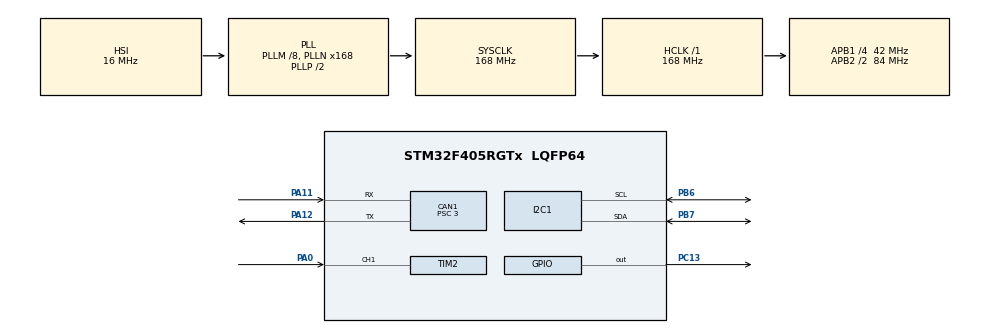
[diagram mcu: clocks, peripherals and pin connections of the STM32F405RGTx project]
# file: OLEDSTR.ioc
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CAN1.BS1=CAN_BS1_11TQ
CAN1.BS2=CAN_BS2_2TQ
CAN1.CalculateTimeQuantum=71.42857142857143
CAN1.Prescaler=3
I2C1.DutyCycle=I2C_DUTYCYCLE_2
I2C1.I2C_Mode=I2C_Fast
Mcu.Family=STM32F4
Mcu.Name=STM32F405RGTx
Mcu.Package=LQFP64
NVIC.CAN1_RX0_IRQn=true\:0\:0\:false\:false\:true\:true\:true
NVIC.PriorityGroup=NVIC_PRIORITYGROUP_4
NVIC.TIM2_IRQn=true\:0\:0\:false\:false\:true\:true\:true
PA0-WKUP.Signal=S_TIM2_CH1_ETR
PA11.Mode=Master
PA11.Signal=CAN1_RX
PA12.Mode=Master
PA12.Signal=CAN1_TX
PA13.Mode=Serial_Wire
PA13.Signal=SYS_JTMS-SWDIO
PA14.Mode=Serial_Wire
PA14.Signal=SYS_JTCK-SWCLK
PB6.Mode=I2C
PB6.Signal=I2C1_SCL
PB7.Mode=I2C
PB7.Signal=I2C1_SDA
PC13-ANTI_TAMP.Signal=GPIO_Output
ProjectManager.HeapSize=0x200
ProjectManager.StackSize=0x400
ProjectManager.TargetToolchain=STM32CubeIDE
RCC.48MHZClocksFreq_Value=84000000
RCC.AHBFreq_Value=168000000
RCC.APB1CLKDivider=RCC_HCLK_DIV4
RCC.APB1Freq_Value=42000000
RCC.APB1TimFreq_Value=84000000
RCC.APB2CLKDivider=RCC_HCLK_DIV2
RCC.APB2Freq_Value=84000000
RCC.APB2TimFreq_Value=168000000
RCC.CortexFreq_Value=168000000
RCC.HCLKFreq_Value=168000000
RCC.HSE_VALUE=25000000
RCC.HSI_VALUE=16000000
RCC.LSE_VALUE=32768
RCC.PLLM=8
RCC.PLLN=168
RCC.SYSCLKFreq_VALUE=168000000
RCC.SYSCLKSource=RCC_SYSCLKSOURCE_PLLCLK
RCC.VCOOutputFreq_Value=336000000
SH.S_TIM2_CH1_ETR.0=TIM2_CH1,PWM_Input_1
TIM2.ICPolarity_1=TIM_INPUTCHANNELPOLARITY_FALLING
TIM2.Period=65535
TIM2.Prescaler=120
board=custom

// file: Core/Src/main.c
/* USER CODE BEGIN Header */
/**
  ******************************************************************************
  * @file           : main.c
  * @brief          : Main program body
  ******************************************************************************
  *
  * Steering Angle Reader and OLED Screen for HPF017
  *
  * Author: Markus Jahn
  *
  ******************************************************************************

  Can Messages read to OLED screen:

  Kerttu 0x7B6, High to Low, Bytes 0-1  (HPF019 ID=0xB Bytes 0-3)
  Low Voltage Battery 0x527(or 0x520!!!), High to Low, Byte 1
  Max Torque and Drive Mode 0x7C8 Byte 1=Max Torque Byte 0=driveModeFuture

  *****************************************************************************
  */
/* USER CODE END Header */

#include "main.h"

/* USER CODE BEGIN Includes */

#include "ssd1306.h"
#include "fonts.h"

/* USER CODE END Includes */

CAN_HandleTypeDef hcan1;

I2C_HandleTypeDef hi2c1;

TIM_HandleTypeDef htim2;

/* USER CODE BEGIN PV */

/* Captured Value */
uint32_t            PWMValue = 0;
uint16_t  			STRAngle = 0;

CAN_FilterTypeDef  sFilterConfig;

CAN_TxHeaderTypeDef   TxHeader;
CAN_RxHeaderTypeDef   RxHeader;

uint8_t               TxData[2];
uint8_t               RxData[8];
uint32_t              TxMailbox;
uint32_t i=0;
uint32_t scrtimer=0;
uint16_t Kerttu=555;
uint16_t LVBatt=203;
uint8_t DriveMode=5;
uint8_t Turku=55;
char txt[6];

/* USER CODE END PV */

void SystemClock_Config(void);
static void MX_GPIO_Init(void);
static void MX_CAN1_Init(void);
static void MX_TIM2_Init(void);
static void MX_I2C1_Init(void);

int main(void)
{

  /* MCU Configuration--------------------------------------------------------*/

  /* Reset of all peripherals, Initializes the Flash interface and the Systick. */
  HAL_Init();

  /* Configure the system clock */
  SystemClock_Config();

  /* Initialize all configured peripherals */
  MX_GPIO_Init();
  MX_CAN1_Init();
  MX_TIM2_Init();
  MX_I2C1_Init();
  /* USER CODE BEGIN 2 */

  HAL_TIM_PWM_Start(&htim2, TIM_CHANNEL_1);
  HAL_TIM_PWM_Start(&htim2, TIM_CHANNEL_2); // start the PWM counters
  HAL_Delay(10);
  SSD1306_Init();  // initialise Screen

  // Start Can Bus

  // Defining CAN 1 Filter Banks.

    sFilterConfig.FilterMode = CAN_FILTERMODE_IDMASK;
    sFilterConfig.FilterScale = CAN_FILTERSCALE_32BIT;
    sFilterConfig.FilterIdLow = 0x0000;
    sFilterConfig.FilterMaskIdLow = 0x0000;
    sFilterConfig.FilterFIFOAssignment = CAN_RX_FIFO0;
    sFilterConfig.FilterActivation = ENABLE;
    sFilterConfig.SlaveStartFilterBank = 14;

 /*   //Let all through mask
    sFilterConfig.FilterBank = 0;
    sFilterConfig.FilterIdHigh = 0x0000;
    sFilterConfig.FilterMaskIdHigh = 0x0000;
    if(HAL_CAN_ConfigFilter(&hcan1, &sFilterConfig) != HAL_OK)
        {
          //Filter configuration Error
          Error_Handler();
        }
*/
    // BMS Voltage
    // Can Message 0x7B6(1974), High to Low, Bytes 0-1

    sFilterConfig.FilterBank = 0;
    sFilterConfig.FilterIdHigh = 0x07B6 << 5;
    sFilterConfig.FilterMaskIdHigh = 0x07B6 << 5;

    if(HAL_CAN_ConfigFilter(&hcan1, &sFilterConfig) != HAL_OK)
    {
      //Filter configuration Error
      Error_Handler();
    }

    // Low Voltage
    // Can Message 0x527(1319), High to Low, Byte 1

    sFilterConfig.FilterBank = 1;
    sFilterConfig.FilterIdHigh = 0x0527 << 5;
    sFilterConfig.FilterMaskIdHigh = 0x0527 << 5;

    if(HAL_CAN_ConfigFilter(&hcan1, &sFilterConfig) != HAL_OK)
        {
          //Filter configuration Error
          Error_Handler();
        }

    // Drive Mode & Max Torque
    // Can Message 0x7C8(1992) Byte 1=Max Torque Byte 0=driveModeFuture

    sFilterConfig.FilterBank = 2;
    sFilterConfig.FilterIdHigh = 0x07C8 << 5;
    sFilterConfig.FilterMaskIdHigh = 0x07C8 << 5;

    if(HAL_CAN_ConfigFilter(&hcan1, &sFilterConfig) != HAL_OK)
        {
          //Filter configuration Error
          Error_Handler();
        }

  // Start Can 1

    if (HAL_CAN_Start(&hcan1) != HAL_OK)
    {
      // Start Error
      Error_Handler();
    }

    scrtimer=HAL_GetTick();

    // Write static stuff to screen only once
                  SSD1306_Clear();
    			  SSD1306_GotoXY (5,0);
   	  		      SSD1306_Puts ("Kerttu", &Font_7x10, 1);
  	  		      SSD1306_GotoXY (65,0);
   	  		      SSD1306_Puts ("LV Batt.", &Font_7x10, 1);
   	  		      SSD1306_GotoXY (10,33);
   	  		      SSD1306_Puts ("Mode", &Font_7x10, 1);
   	  		      SSD1306_GotoXY (65,33);
   	  		      SSD1306_Puts ("Torque", &Font_7x10, 1);
   	  		      SSD1306_UpdateScreen();

  /* USER CODE END 2 */

  /* Infinite loop */
  /* USER CODE BEGIN WHILE */
  while (1)
  {

	   // Read Steering Angle sensor
	      PWMValue = HAL_TIM_ReadCapturedValue(&htim2, TIM_CHANNEL_1);

	  	  if (PWMValue != 0)
	  	  {
	  		STRAngle = HAL_TIM_ReadCapturedValue(&htim2, TIM_CHANNEL_2)*360/PWMValue;
	  		STRAngle = 360-(STRAngle-22);
	  	  }
	  	  else
	  	  {
	  		  STRAngle = 0;
	  	  }

	  	// Receive Can 1 message

	  		    if(HAL_CAN_GetRxFifoFillLevel(&hcan1, CAN_RX_FIFO0) != 1)
	  		      {
	  		        /* Reception Missing */
	  		        Error_Handler();
	  		      }

	  		      if(HAL_CAN_GetRxMessage(&hcan1, CAN_RX_FIFO0, &RxHeader, RxData) != HAL_OK)
	  		      {
	  		        /* Reception Error */
	  		        Error_Handler();
	  		      }

	  		    switch ( RxHeader.StdId )
	  		            {
	  		    			case 0x7B6 :  // BMS Voltage
	  		                    Kerttu=256*RxData[0]+RxData[1];
	  		                    break;

	  		    			case 0x527 :  // Low Voltage Battery or is it 0x520???
	  		    				LVBatt=RxData[1]*1.216;
	  		    				break;

	  		    			case 0x07C8 :  // Byte 1=Max Torque Byte 0=driveModeFuture
	  		    				DriveMode=RxData[3];
	  		    				Turku=RxData[1];
	  		    				break;

	  		            }
	  		      // uint32_t to bytes

	  		      union {
	  		    	    uint16_t integer;
	  		      		unsigned char bytearray[2];
	  		      	} data;
	  		      	data.integer = STRAngle;

	  		      // Can 1 Start the Transmission process
	  		        TxHeader.StdId = 69;
	  		        TxHeader.RTR = CAN_RTR_DATA;
	  		        TxHeader.IDE = CAN_ID_STD;
	  		        TxHeader.DLC = 2;
	  		        TxHeader.TransmitGlobalTime = DISABLE;
	  		        TxData[0] = data.bytearray[0];
	  		        TxData[1] = data.bytearray[1];

	  		        if(HAL_CAN_AddTxMessage(&hcan1, &TxHeader, TxData, &TxMailbox) != HAL_OK)
	  		        {
	  		          /* Transmission request Error */
	  		          Error_Handler();
	  		        }

	  		        /* Wait transmission complete */
	  		          while(HAL_CAN_GetTxMailboxesFreeLevel(&hcan1) != 3) {}

	   //Write to the screen

if (HAL_GetTick()-scrtimer > 100) {
	    SSD1306_GotoXY (5,12);
	    sprintf(txt, "%iv", Kerttu);
	    SSD1306_Puts (txt, &Font_11x18, 1);
	    SSD1306_GotoXY (65,12);
	    sprintf(txt, "%u.%01uv", LVBatt/10, LVBatt%10);
	    SSD1306_Puts (txt, &Font_11x18, 1);
	    SSD1306_GotoXY (12,45);
	    sprintf(txt, "#%i", DriveMode);
	    SSD1306_Puts (txt, &Font_11x18, 1);
	    SSD1306_GotoXY (65,45);
	    sprintf(txt, "%iNm ", Turku);
	    SSD1306_Puts (txt, &Font_11x18, 1);
	    SSD1306_UpdateScreen();
        scrtimer=HAL_GetTick();
} else { HAL_Delay(2);}

	  HAL_GPIO_TogglePin(GPIOC,GPIO_PIN_13);

    /* USER CODE END WHILE */

  }
}

void SystemClock_Config(void)
{
  RCC_OscInitTypeDef RCC_OscInitStruct = {0};
  RCC_ClkInitTypeDef RCC_ClkInitStruct = {0};

  /** Configure the main internal regulator output voltage
  */
  __HAL_RCC_PWR_CLK_ENABLE();
  __HAL_PWR_VOLTAGESCALING_CONFIG(PWR_REGULATOR_VOLTAGE_SCALE1);
  /** Initializes the CPU, AHB and APB busses clocks
  */
  RCC_OscInitStruct.OscillatorType = RCC_OSCILLATORTYPE_HSI;
  RCC_OscInitStruct.HSIState = RCC_HSI_ON;
  RCC_OscInitStruct.HSICalibrationValue = RCC_HSICALIBRATION_DEFAULT;
  RCC_OscInitStruct.PLL.PLLState = RCC_PLL_ON;
  RCC_OscInitStruct.PLL.PLLSource = RCC_PLLSOURCE_HSI;
  RCC_OscInitStruct.PLL.PLLM = 8;
  RCC_OscInitStruct.PLL.PLLN = 168;
  RCC_OscInitStruct.PLL.PLLP = RCC_PLLP_DIV2;
  RCC_OscInitStruct.PLL.PLLQ = 4;
  if (HAL_RCC_OscConfig(&RCC_OscInitStruct) != HAL_OK)
  {
    Error_Handler();
  }
  /** Initializes the CPU, AHB and APB busses clocks
  */
  RCC_ClkInitStruct.ClockType = RCC_CLOCKTYPE_HCLK|RCC_CLOCKTYPE_SYSCLK
                              |RCC_CLOCKTYPE_PCLK1|RCC_CLOCKTYPE_PCLK2;
  RCC_ClkInitStruct.SYSCLKSource = RCC_SYSCLKSOURCE_PLLCLK;
  RCC_ClkInitStruct.AHBCLKDivider = RCC_SYSCLK_DIV1;
  RCC_ClkInitStruct.APB1CLKDivider = RCC_HCLK_DIV4;
  RCC_ClkInitStruct.APB2CLKDivider = RCC_HCLK_DIV2;

  if (HAL_RCC_ClockConfig(&RCC_ClkInitStruct, FLASH_LATENCY_5) != HAL_OK)
  {
    Error_Handler();
  }
}

static void MX_CAN1_Init(void)
{

  hcan1.Instance = CAN1;
  hcan1.Init.Prescaler = 3;
  hcan1.Init.Mode = CAN_MODE_NORMAL;
  hcan1.Init.SyncJumpWidth = CAN_SJW_1TQ;
  hcan1.Init.TimeSeg1 = CAN_BS1_11TQ;
  hcan1.Init.TimeSeg2 = CAN_BS2_2TQ;
  hcan1.Init.TimeTriggeredMode = DISABLE;
  hcan1.Init.AutoBusOff = DISABLE;
  hcan1.Init.AutoWakeUp = DISABLE;
  hcan1.Init.AutoRetransmission = DISABLE;
  hcan1.Init.ReceiveFifoLocked = DISABLE;
  hcan1.Init.TransmitFifoPriority = DISABLE;
  if (HAL_CAN_Init(&hcan1) != HAL_OK)
  {
    Error_Handler();
  }

}

static void MX_I2C1_Init(void)
{

  /* USER CODE BEGIN I2C1_Init 1 */

    // For better speed to update the screen
	// hi2c1.Init.ClockSpeed = 1600000;

  /* USER CODE END I2C1_Init 1 */
  hi2c1.Instance = I2C1;
  hi2c1.Init.ClockSpeed = 400000;
  hi2c1.Init.DutyCycle = I2C_DUTYCYCLE_2;
  hi2c1.Init.OwnAddress1 = 0;
  hi2c1.Init.AddressingMode = I2C_ADDRESSINGMODE_7BIT;
  hi2c1.Init.DualAddressMode = I2C_DUALADDRESS_DISABLE;
  hi2c1.Init.OwnAddress2 = 0;
  hi2c1.Init.GeneralCallMode = I2C_GENERALCALL_DISABLE;
  hi2c1.Init.NoStretchMode = I2C_NOSTRETCH_DISABLE;
  if (HAL_I2C_Init(&hi2c1) != HAL_OK)
  {
    Error_Handler();
  }

}

static void MX_TIM2_Init(void)
{

  TIM_SlaveConfigTypeDef sSlaveConfig = {0};
  TIM_IC_InitTypeDef sConfigIC = {0};
  TIM_MasterConfigTypeDef sMasterConfig = {0};

  htim2.Instance = TIM2;
  htim2.Init.Prescaler = 120;
  htim2.Init.CounterMode = TIM_COUNTERMODE_UP;
  htim2.Init.Period = 65535;
  htim2.Init.ClockDivision = TIM_CLOCKDIVISION_DIV1;
  htim2.Init.AutoReloadPreload = TIM_AUTORELOAD_PRELOAD_DISABLE;
  if (HAL_TIM_IC_Init(&htim2) != HAL_OK)
  {
    Error_Handler();
  }
  sSlaveConfig.SlaveMode = TIM_SLAVEMODE_RESET;
  sSlaveConfig.InputTrigger = TIM_TS_TI1FP1;
  sSlaveConfig.TriggerPolarity = TIM_INPUTCHANNELPOLARITY_FALLING;
  sSlaveConfig.TriggerPrescaler = TIM_ICPSC_DIV1;
  sSlaveConfig.TriggerFilter = 0;
  if (HAL_TIM_SlaveConfigSynchro(&htim2, &sSlaveConfig) != HAL_OK)
  {
    Error_Handler();
  }
  sConfigIC.ICPolarity = TIM_INPUTCHANNELPOLARITY_FALLING;
  sConfigIC.ICSelection = TIM_ICSELECTION_DIRECTTI;
  sConfigIC.ICPrescaler = TIM_ICPSC_DIV1;
  sConfigIC.ICFilter = 0;
  if (HAL_TIM_IC_ConfigChannel(&htim2, &sConfigIC, TIM_CHANNEL_1) != HAL_OK)
  {
    Error_Handler();
  }
  sConfigIC.ICPolarity = TIM_INPUTCHANNELPOLARITY_RISING;
  sConfigIC.ICSelection = TIM_ICSELECTION_INDIRECTTI;
  if (HAL_TIM_IC_ConfigChannel(&htim2, &sConfigIC, TIM_CHANNEL_2) != HAL_OK)
  {
    Error_Handler();
  }
  sMasterConfig.MasterOutputTrigger = TIM_TRGO_RESET;
  sMasterConfig.MasterSlaveMode = TIM_MASTERSLAVEMODE_DISABLE;
  if (HAL_TIMEx_MasterConfigSynchronization(&htim2, &sMasterConfig) != HAL_OK)
  {
    Error_Handler();
  }

}

static void MX_GPIO_Init(void)
{
  GPIO_InitTypeDef GPIO_InitStruct = {0};

  /* GPIO Ports Clock Enable */
  __HAL_RCC_GPIOC_CLK_ENABLE();
  __HAL_RCC_GPIOA_CLK_ENABLE();
  __HAL_RCC_GPIOB_CLK_ENABLE();

  /*Configure GPIO pin Output Level */
  HAL_GPIO_WritePin(GPIOC, GPIO_PIN_13, GPIO_PIN_RESET);

  /*Configure GPIO pin : PC13 */
  GPIO_InitStruct.Pin = GPIO_PIN_13;
  GPIO_InitStruct.Mode = GPIO_MODE_OUTPUT_PP;
  GPIO_InitStruct.Pull = GPIO_NOPULL;
  GPIO_InitStruct.Speed = GPIO_SPEED_FREQ_LOW;
  HAL_GPIO_Init(GPIOC, &GPIO_InitStruct);

}

void Error_Handler(void)
{
}

/************************ (C) COPYRIGHT STMicroelectronics *****END OF FILE****/
